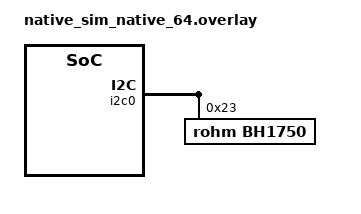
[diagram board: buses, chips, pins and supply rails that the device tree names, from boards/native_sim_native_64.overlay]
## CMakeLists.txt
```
# SPDX-License-Identifier: Apache-2.0

cmake_minimum_required(VERSION 3.20.0)
find_package(Zephyr REQUIRED HINTS $ENV{ZEPHYR_BASE})
project(device)

target_sources(app
  PRIVATE
    src/test_bh1750.c
)
```

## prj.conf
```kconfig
CONFIG_ZTEST=y
CONFIG_SENSOR=y
CONFIG_BH1750=y
CONFIG_I2C=y
CONFIG_I2C_EMUL=y
CONFIG_EMUL=y
CONFIG_EMUL_BH1750=y
```

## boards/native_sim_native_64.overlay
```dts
/*
 * Copyright (c) 2026 Om Srivastava <srivastavaom97714@gmail.com>
 *
 * SPDX-License-Identifier: Apache-2.0
 */

&i2c0 {
	bh1750@23 {
		compatible = "rohm,bh1750";
		reg = <0x23>;
	};
};
```

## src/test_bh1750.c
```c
/*
 * Copyright (c) 2026 Om Srivastava <srivastavaom97714@gmail.com>
 *
 * SPDX-License-Identifier: Apache-2.0
 */

#include <zephyr/ztest.h>
#include <zephyr/device.h>
#include <zephyr/drivers/sensor.h>
#include <zephyr/drivers/i2c.h>
#include <zephyr/drivers/i2c_emul.h>
#include <zephyr/sys/byteorder.h>
#include <errno.h>
#include <zephyr/drivers/sensor/bh1750_emul.h>

/* ================= Emulator ================= */

extern const struct i2c_emul_api bh1750_emul_api;

void bh1750_emul_set_value(const struct device *dev, void *raw_data);

/* ================= Test Fixture ================= */

#define BH1750_NODE DT_INST(0, rohm_bh1750)
#define BH1750_ADDR DT_REG_ADDR(BH1750_NODE)

struct i2c_emul emul_i2c = {
	.api = &bh1750_emul_api,
	.addr = BH1750_ADDR,
};

struct bh1750_fixture {
	struct bh1750_emul_data emul_data;
	struct emul emul;
};

static void *bh1750_setup(void)
{
	static struct bh1750_fixture fixture = {0};

	const struct device *i2c = DEVICE_DT_GET(DT_BUS(BH1750_NODE));

	zassert_true(device_is_ready(i2c), "I2C bus not ready");

	fixture.emul_data.powered = true;
	fixture.emul_data.raw = 0;

	fixture.emul.dev = DEVICE_DT_GET(BH1750_NODE);
	fixture.emul.bus.i2c = &emul_i2c;
	fixture.emul.bus.i2c->target = &fixture.emul;
	fixture.emul.data = &fixture.emul_data;

	/* 🔑 Runtime registration */
	zassert_true(device_is_ready(fixture.emul.dev),
		     "BH1750 device not ready");

	return &fixture;
}

static void bh1750_before(void *f)
{
	struct bh1750_fixture *fixture = f;

	fixture->emul_data.powered = true;
	fixture->emul_data.raw = 0;
}

ZTEST_SUITE(bh1750, NULL,
	    bh1750_setup, bh1750_before,
	    NULL, NULL);

/* ================= Tests ================= */

ZTEST_F(bh1750, test_sample_fetch_ok)
{
	zassert_ok(sensor_sample_fetch(fixture->emul.dev));
}

ZTEST_F(bh1750, test_100_lux)
{
	struct sensor_value val;
	/* raw = lux * 1.2 → 100 lux */
	fixture->emul_data.raw = 120;
	bh1750_emul_set_value(fixture->emul.dev, &fixture->emul_data);

	zassert_ok(sensor_sample_fetch(fixture->emul.dev));
	zassert_ok(sensor_channel_get(fixture->emul.dev,
				     SENSOR_CHAN_LIGHT, &val));

	zassert_equal(val.val1, 100);
	zassert_equal(val.val2, 0);
}

ZTEST_F(bh1750, test_fractional_lux)
{
	struct sensor_value val;

	/* 12.5 lux → raw = 15 */
	fixture->emul_data.raw = 15;
	bh1750_emul_set_value(fixture->emul.dev, &fixture->emul_data);

	zassert_ok(sensor_sample_fetch(fixture->emul.dev));
	zassert_ok(sensor_channel_get(fixture->emul.dev,
				     SENSOR_CHAN_LIGHT, &val));

	zassert_equal(val.val1, 12);
	zassert_equal(val.val2, 500000);
}
```
